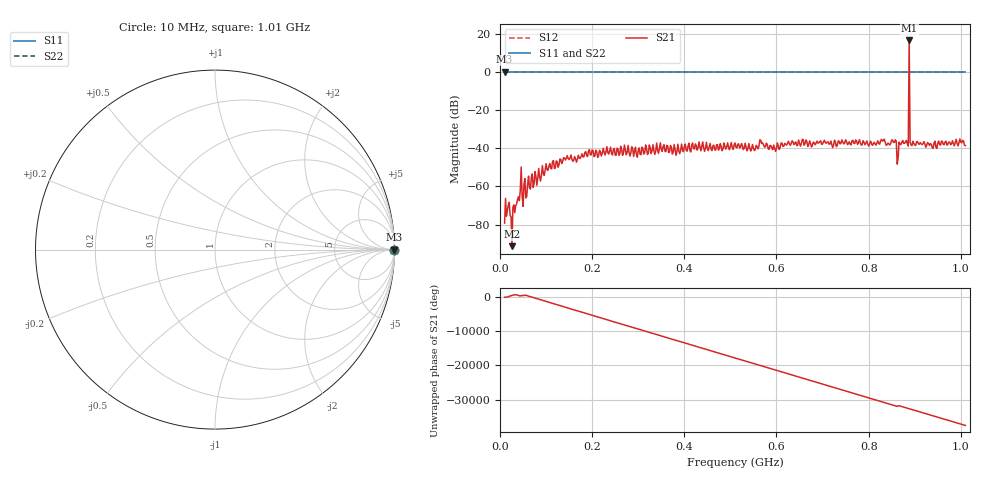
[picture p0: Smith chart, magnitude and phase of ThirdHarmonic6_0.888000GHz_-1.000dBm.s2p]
! 8/16/2025 5:12:38 AM
! C:\ANRITSUVNA\TEMP\TEMP.S2P
! CHANNEL.1
! TR.MEASUREMENT
! RAW.DATA
! RF.CORRECTION.OFF
! AVERAGING.OFF
! IF.BANDWIDTH: 5KHZ
! SWEEPTYPE:  FREQ.SWEEP(Linear)
! Reference Plane Port Info
! PORT:  PORT1  PORT2
! DISTANCE:  0  m  0  m
! TIME:  0  s  0  s
! PHASE.OFFSET:  0  deg.  0  deg.
! LOSS:  0  dB  0  dB
! REF.LOSS:  0  dB  0  dB
! REF.FREQ:  0  Hz  0  Hz
! Power Info
! POWER:  -20  dBm  -20  dBm
! EFF.POWER:  -20  dBm  -20  dBm
! SOURCE.ATTEN:  0  dB  0  dB
! TEST.ATTEN:  0  dB  0  dB
# GHZ S RI R 50.0
! FREQ.GHZ  S11RE  S11IM  S21RE  S21IM  S12RE  S12IM  S22RE  S22IM
!; PortSelection: Port_12
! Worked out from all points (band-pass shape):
!   501 points, 10 MHz to 1.01 GHz, reference 50 ohm
!   highest |S21| = 16.37 dB at 888 MHz (marker M1); lowest = -91.3 dB at 26 MHz (marker M2)
!   |S21| within 3 dB of the highest: 887.8915 MHz to 888.1128 MHz (221.3 kHz wide, 0.0249 % of centre)
!   lowest |S11| = 0.0 dB at 10 MHz (marker M3)
!   |S11| at or under -10 dB: nowhere
!   |S22| runs from 0.0 to 0.0 dB; largest |S21 - S12| = 7.4
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0.01  1 0  -6.14e-05 -8.99e-05  1 0  1 0
0.016  1 0  0.000213 -0.000102  1 0  1 0
0.026  1 0  1.09e-05 2.49e-05  1 0  1 0
0.042  1 0  0.000246 -0.000344  1 0  1 0
0.05  1 0  0.000287 8.69e-05  1 0  1 0
0.054  1 0  -0.00158 0.000192  1 0  1 0
0.066  1 0  0.000243 0.000814  1 0  1 0
0.112  1 0  0.00285 -0.000281  1 0  1 0
0.178  1 0  -0.00676 -0.00225  1 0  1 0
0.344  1 0  0.00728 8.2e-06  1 0  1 0
0.51  1 0  -0.0136 0.00138  1 0  1 0
0.678  1 0  0.00377 -0.0113  1 0  1 0
0.844  1 0  -0.000864 0.0129  1 0  1 0
0.856  1 0  0.0132 -0.00531  1 0  1 0
0.866  1 0  0.00356 -0.014  1 0  1 0
0.87  1 0  -0.00837 0.00911  1 0  1 0
0.882  1 0  0.0159 0.0016  1 0  1 0
0.884  1 0  0.00308 -0.0126  1 0  1 0
0.888  1 0  -5.001 4.288  1 0  1 0
0.892  1 0  0.0091 -0.00813  1 0  1 0
0.894  1 0  -0.00337 -0.0111  1 0  1 0
1.01  1 0  0.00379 -0.011  1 0  1 0
